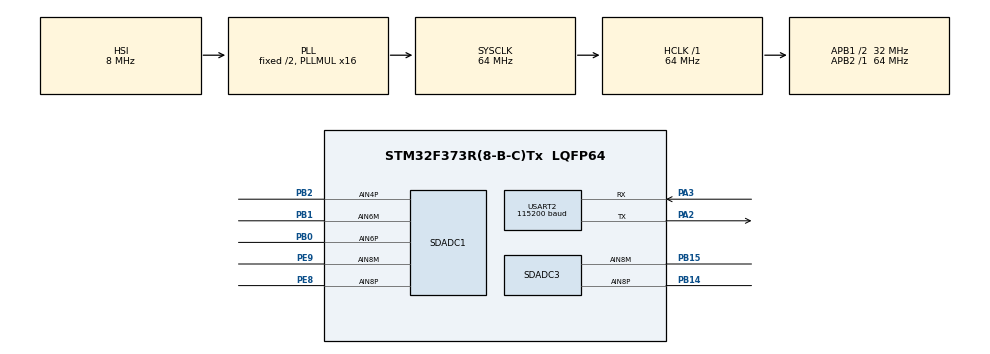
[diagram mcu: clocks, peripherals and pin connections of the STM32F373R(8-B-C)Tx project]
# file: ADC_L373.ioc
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ADC1.Channel-0\#ChannelRegularConversion=ADC_CHANNEL_TEMPSENSOR
ADC1.ContinuousConvMode=DISABLE
ADC1.DataAlign=ADC_DATAALIGN_RIGHT
ADC1.DiscontinuousConvMode=DISABLE
ADC1.EnableAnalogWatchDog=false
ADC1.EnableRegularConversion=ENABLE
ADC1.ExternalTrigConv=ADC_SOFTWARE_START
ADC1.InjNumberOfConversion=0
ADC1.NbrOfConversion=1
ADC1.NbrOfConversionFlag=1
ADC1.Rank-0\#ChannelRegularConversion=1
ADC1.SamplingTime-0\#ChannelRegularConversion=ADC_SAMPLETIME_239CYCLES_5
ADC1.ScanConvMode=ADC_SCAN_DISABLE
ADC1.master=1
Mcu.Family=STM32F3
Mcu.Name=STM32F373R(8-B-C)Tx
Mcu.Package=LQFP64
NVIC.PriorityGroup=NVIC_PRIORITYGROUP_4
NVIC.USART2_IRQn=true\:0\:0\:false\:false\:true\:true
PA2.Mode=Asynchronous
PA2.Signal=USART2_TX
PA3.Mode=Asynchronous
PA3.Signal=USART2_RX
PB0.Mode=IN6-Differential
PB0.Signal=SDADC1_AIN6P
PB1.Mode=IN6-Differential
PB1.Signal=SDADC1_AIN6M
PB14.Mode=IN8-Differential
PB14.Signal=SDADC3_AIN8P
PB15.Mode=IN8-Differential
PB15.Signal=SDADC3_AIN8M
PB2.Mode=IN4-Single-Ended
PB2.Signal=SDADC1_AIN4P
PE8.Mode=IN8-Differential
PE8.Signal=SDADC1_AIN8P
PE9.Mode=IN8-Differential
PE9.Signal=SDADC1_AIN8M
ProjectManager.HeapSize=0x200
ProjectManager.StackSize=0x400
ProjectManager.TargetToolchain=SW4STM32
RCC.ADCPresc=RCC_ADC1PCLK2_DIV8
RCC.AHBFreq_Value=64000000
RCC.APB1CLKDivider=RCC_HCLK_DIV2
RCC.APB1Freq_Value=32000000
RCC.APB1TimFreq_Value=64000000
RCC.APB2Freq_Value=64000000
RCC.APB2TimFreq_Value=64000000
RCC.CortexFreq_Value=64000000
RCC.HCLKFreq_Value=64000000
RCC.HSE_VALUE=8000000
RCC.HSI_VALUE=8000000
RCC.LSE_VALUE=32768
RCC.PLLMUL=RCC_PLL_MUL16
RCC.SDADCPresc=RCC_SDADCSYSCLK_DIV12
RCC.SYSCLKFreq_VALUE=64000000
RCC.SYSCLKSource=RCC_SYSCLKSOURCE_PLLCLK
RCC.USBFreq_Value=64000000
SDADC1.CommonMode0=SDADC_COMMON_MODE_VSSA
SDADC1.EnableInjectedConversion=DISABLE
SDADC1.EnableRegularconversion=DISABLE
SDADC1.FastConversionMode=SDADC_FAST_CONV_DISABLE
SDADC1.Gain0=SDADC_GAIN_1
SDADC1.IdleLowPowerMode=SDADC_LOWPOWER_NONE
SDADC1.InjDelay=Disable
SDADC1.InjectedContinuousMode=SDADC_CONTINUOUS_CONV_OFF
SDADC1.InjectedMultimodeType=__NULL
SDADC1.InputMode0=SDADC_INPUT_MODE_DIFF
SDADC1.NbrOfConversionFlag=1
SDADC1.Offset0=0
SDADC1.ReferenceVoltage=SDADC_VREF_EXT
SDADC1.SlowClockMode=SDADC_SLOW_CLOCK_DISABLE
SDADC3.NbrOfConversionFlag=1
USART2.BaudRate=115200
USART2.VirtualMode-Asynchronous=VM_ASYNC
VP_ADC1_TempSens_Input.Mode=IN-TempSens
VP_SDADC1_CONF0.Mode=ConfigZero
VP_SDADC3_CONF0.Mode=ConfigZero
board=ADC_L373

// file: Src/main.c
/**
  ******************************************************************************
  * File Name          : main.c
  * Description        : Main program body
  ******************************************************************************
  ** This notice applies to any and all portions of this file
  * that are not between comment pairs USER CODE BEGIN and
  * USER CODE END. Other portions of this file, whether
  * inserted by the user or by software development tools
  * are owned by their respective copyright owners.
  *
  * COPYRIGHT(c) 2017 STMicroelectronics
  *
  * Redistribution and use in source and binary forms, with or without modification,
  * are permitted provided that the following conditions are met:
  *   1. Redistributions of source code must retain the above copyright notice,
  *      this list of conditions and the following disclaimer.
  *   2. Redistributions in binary form must reproduce the above copyright notice,
  *      this list of conditions and the following disclaimer in the documentation
  *      and/or other materials provided with the distribution.
  *   3. Neither the name of STMicroelectronics nor the names of its contributors
  *      may be used to endorse or promote products derived from this software
  *      without specific prior written permission.
  *
  * THIS SOFTWARE IS PROVIDED BY THE COPYRIGHT HOLDERS AND CONTRIBUTORS "AS IS"
  * AND ANY EXPRESS OR IMPLIED WARRANTIES, INCLUDING, BUT NOT LIMITED TO, THE
  * IMPLIED WARRANTIES OF MERCHANTABILITY AND FITNESS FOR A PARTICULAR PURPOSE ARE
  * DISCLAIMED. IN NO EVENT SHALL THE COPYRIGHT HOLDER OR CONTRIBUTORS BE LIABLE
  * FOR ANY DIRECT, INDIRECT, INCIDENTAL, SPECIAL, EXEMPLARY, OR CONSEQUENTIAL
  * DAMAGES (INCLUDING, BUT NOT LIMITED TO, PROCUREMENT OF SUBSTITUTE GOODS OR
  * SERVICES; LOSS OF USE, DATA, OR PROFITS; OR BUSINESS INTERRUPTION) HOWEVER
  * CAUSED AND ON ANY THEORY OF LIABILITY, WHETHER IN CONTRACT, STRICT LIABILITY,
  * OR TORT (INCLUDING NEGLIGENCE OR OTHERWISE) ARISING IN ANY WAY OUT OF THE USE
  * OF THIS SOFTWARE, EVEN IF ADVISED OF THE POSSIBILITY OF SUCH DAMAGE.
  *
  ******************************************************************************
  */

#include "main.h"
#include "stm32f3xx_hal.h"
#include "adc.h"
#include "sdadc.h"
#include "usart.h"
#include "gpio.h"

/* USER CODE BEGIN Includes */
#include <stdio.h>
#include <string.h>
#include <math.h>
#include "Thermal_Comp_ADC.h"

/* USER CODE END Includes */

/* USER CODE BEGIN PV */
/* Private variables ---------------------------------------------------------*/
#define ENABLE_DIFFERENTIAL_IN		(1)
#define ENABLE_SDADC3				(0)

#define TIMEOUT_CALIB				(10000)

#define SAMPLING_RATE_MS			(1000)

#define BUFF_DIM					(50)

#define RAW_BUFF_DIM				(12500)

/* temperature constants */
#define V_25						(1.43)
#define AVS							(0.0043)
#define LSB_TO_V(x)					((3.3/4095)*x)
#define T_25						(25.0)

int16_t raw_value;
uint8_t finish;
/* USER CODE END PV */

void SystemClock_Config(void);

/* USER CODE BEGIN PFP */
/* Private function prototypes -----------------------------------------------*/

/* USER CODE END PFP */

int main(void)
{

  /* USER CODE BEGIN 1 */
	uint8_t txbuff[BUFF_DIM];
	int32_t rawbuff,rawbuff2,i;
	float temp;

  /* USER CODE END 1 */

  /* MCU Configuration----------------------------------------------------------*/

  /* Reset of all peripherals, Initializes the Flash interface and the Systick. */
  HAL_Init();

  /* Configure the system clock */
  SystemClock_Config();

  /* Initialize all configured peripherals */
  MX_GPIO_Init();
  MX_SDADC1_Init();
  MX_USART2_UART_Init();
  MX_ADC1_Init();
  MX_SDADC3_Init();

  /* USER CODE BEGIN 2 */

#if ENABLE_DIFFERENTIAL_IN

  /* CHANNEL 8 */
  HAL_SDADC_AssociateChannelConfig(&hsdadc1,
		  SDADC_CHANNEL_8,
		  SDADC_CONF_INDEX_1);

  HAL_SDADC_ConfigChannel(&hsdadc1,
		  SDADC_CHANNEL_8,
		  SDADC_CONTINUOUS_CONV_OFF);

#else
  /* CHANNEL 4 */

//  HAL_SDADC_AssociateChannelConfig(&hsdadc1,
//		  SDADC_CHANNEL_4,
//		  SDADC_CONF_INDEX_0);
//
//  HAL_SDADC_ConfigChannel(&hsdadc1,
//		  SDADC_CHANNEL_4,
//		  SDADC_CONTINUOUS_CONV_OFF);

#endif

#if ENABLE_DIFFERENTIAL_IN
  /* calibration */
  if (HAL_SDADC_CalibrationStart(&hsdadc1,SDADC_CALIBRATION_SEQ_1) != HAL_OK){
	  _Error_Handler(__FILE__,__LINE__);
  }
  /* calibration ADC */
  HAL_ADCEx_Calibration_Start(&hadc1);
#else
  /* calibration */
  if (HAL_SDADC_CalibrationStart(&hsdadc1,SDADC_CALIBRATION_SEQ_1) != HAL_OK){
	  _Error_Handler(__FILE__,__LINE__);
  }
#endif
  /* wait end of calib */
  while ( HAL_SDADC_PollForCalibEvent(&hsdadc1,TIMEOUT_CALIB) == HAL_ERROR);

  /* USER CODE END 2 */

  /* Infinite loop */
  while (1)
  {

  /* USER CODE BEGIN 3 */
	  HAL_SDADC_AssociateChannelConfig(&hsdadc1,
			  SDADC_CHANNEL_6,
			  SDADC_CONF_INDEX_1);

	  HAL_SDADC_ConfigChannel(&hsdadc1,
			  SDADC_CHANNEL_6,
			  SDADC_CONTINUOUS_CONV_OFF);
	  /* calibration */
	  if (HAL_SDADC_CalibrationStart(&hsdadc1,SDADC_CALIBRATION_SEQ_1) != HAL_OK){
		  _Error_Handler(__FILE__,__LINE__);
	  }
	  /* wait end of calib */
	  while ( HAL_SDADC_PollForCalibEvent(&hsdadc1,TIMEOUT_CALIB) == HAL_ERROR);

	  for (i=0 , rawbuff = 0; i < 1/*RAW_BUFF_DIM*/; i++){
		  HAL_SDADC_Start(&hsdadc1);
		  /* wait end of ADC */
		  while ( HAL_SDADC_PollForConversion(&hsdadc1,TIMEOUT_CALIB) == HAL_ERROR);
		  //raw_value = (int16_t)HAL_SDADC_GetValue(&hsdadc1);
		  //rawbuff = rawbuff + (int32_t)raw_value;
	  }
	  //rawbuff = rawbuff / RAW_BUFF_DIM;

	  HAL_SDADC_AssociateChannelConfig(&hsdadc1,
			  SDADC_CHANNEL_8,
			  SDADC_CONF_INDEX_1);

	  HAL_SDADC_ConfigChannel(&hsdadc1,
			  SDADC_CHANNEL_8,
			  SDADC_CONTINUOUS_CONV_OFF);
	  /* calibration */
	  if (HAL_SDADC_CalibrationStart(&hsdadc1,SDADC_CALIBRATION_SEQ_1) != HAL_OK){
		  _Error_Handler(__FILE__,__LINE__);
	  }
	  /* wait end of calib */
	  while ( HAL_SDADC_PollForCalibEvent(&hsdadc1,TIMEOUT_CALIB) == HAL_ERROR);

	  for (i=0 , rawbuff2 = 0; i < RAW_BUFF_DIM; i++){
		  HAL_SDADC_Start(&hsdadc1);
		  /* wait end of ADC */
		  while ( HAL_SDADC_PollForConversion(&hsdadc1,TIMEOUT_CALIB) == HAL_ERROR);
		  raw_value = (int16_t)HAL_SDADC_GetValue(&hsdadc1);
		  rawbuff2 = rawbuff2 + (int32_t)raw_value;
	  }
	  rawbuff2 = rawbuff2 / RAW_BUFF_DIM;

	  /* TEMPERATURE */
	  HAL_ADC_Start(&hadc1);
	  while (HAL_ADC_PollForConversion(&hadc1,TIMEOUT_CALIB) == HAL_ERROR);
	  raw_value = (int16_t)HAL_ADC_GetValue(&hadc1);
	  temp = LSB_TO_V((float)raw_value);
	  temp = ((V_25 - temp)/AVS)+T_25;
	  temp = roundf(temp);

	  /* temp compensation */
	  rawbuff = Temp_Comp (rawbuff,(int16_t)temp);
	  rawbuff2 = Temp_Comp (rawbuff2,(int16_t)temp);

	  sprintf(txbuff,"%d %d %d\r\n",(int16_t)rawbuff,(int16_t)rawbuff2,(int16_t)temp);
	  HAL_UART_Transmit(&huart2,txbuff,strlen((const char *)txbuff),TIMEOUT_CALIB);
	  HAL_Delay(SAMPLING_RATE_MS);

  }
  /* USER CODE END 3 */

}

/** System Clock Configuration
*/
void SystemClock_Config(void)
{

  RCC_OscInitTypeDef RCC_OscInitStruct;
  RCC_ClkInitTypeDef RCC_ClkInitStruct;
  RCC_PeriphCLKInitTypeDef PeriphClkInit;

    /**Initializes the CPU, AHB and APB busses clocks
    */
  RCC_OscInitStruct.OscillatorType = RCC_OSCILLATORTYPE_HSI;
  RCC_OscInitStruct.HSIState = RCC_HSI_ON;
  RCC_OscInitStruct.HSICalibrationValue = 16;
  RCC_OscInitStruct.PLL.PLLState = RCC_PLL_ON;
  RCC_OscInitStruct.PLL.PLLSource = RCC_PLLSOURCE_HSI;
  RCC_OscInitStruct.PLL.PLLMUL = RCC_PLL_MUL16;
  if (HAL_RCC_OscConfig(&RCC_OscInitStruct) != HAL_OK)
  {
    _Error_Handler(__FILE__, __LINE__);
  }

    /**Initializes the CPU, AHB and APB busses clocks
    */
  RCC_ClkInitStruct.ClockType = RCC_CLOCKTYPE_HCLK|RCC_CLOCKTYPE_SYSCLK
                              |RCC_CLOCKTYPE_PCLK1|RCC_CLOCKTYPE_PCLK2;
  RCC_ClkInitStruct.SYSCLKSource = RCC_SYSCLKSOURCE_PLLCLK;
  RCC_ClkInitStruct.AHBCLKDivider = RCC_SYSCLK_DIV1;
  RCC_ClkInitStruct.APB1CLKDivider = RCC_HCLK_DIV2;
  RCC_ClkInitStruct.APB2CLKDivider = RCC_HCLK_DIV1;

  if (HAL_RCC_ClockConfig(&RCC_ClkInitStruct, FLASH_LATENCY_2) != HAL_OK)
  {
    _Error_Handler(__FILE__, __LINE__);
  }

  PeriphClkInit.PeriphClockSelection = RCC_PERIPHCLK_USART2|RCC_PERIPHCLK_ADC1
                              |RCC_PERIPHCLK_SDADC;
  PeriphClkInit.Usart2ClockSelection = RCC_USART2CLKSOURCE_PCLK1;
  PeriphClkInit.SdadcClockSelection = RCC_SDADCSYSCLK_DIV12;
  PeriphClkInit.Adc1ClockSelection = RCC_ADC1PCLK2_DIV8;

  if (HAL_RCCEx_PeriphCLKConfig(&PeriphClkInit) != HAL_OK)
  {
    _Error_Handler(__FILE__, __LINE__);
  }

  HAL_PWREx_EnableSDADC(PWR_SDADC_ANALOG1);

  HAL_PWREx_EnableSDADC(PWR_SDADC_ANALOG3);

    /**Configure the Systick interrupt time
    */
  HAL_SYSTICK_Config(HAL_RCC_GetHCLKFreq()/1000);

    /**Configure the Systick
    */
  HAL_SYSTICK_CLKSourceConfig(SYSTICK_CLKSOURCE_HCLK);

  /* SysTick_IRQn interrupt configuration */
  HAL_NVIC_SetPriority(SysTick_IRQn, 0, 0);
}

void _Error_Handler(char * file, int line)
{
  while(1)
  {
  }
}

/************************ (C) COPYRIGHT STMicroelectronics *****END OF FILE****/
